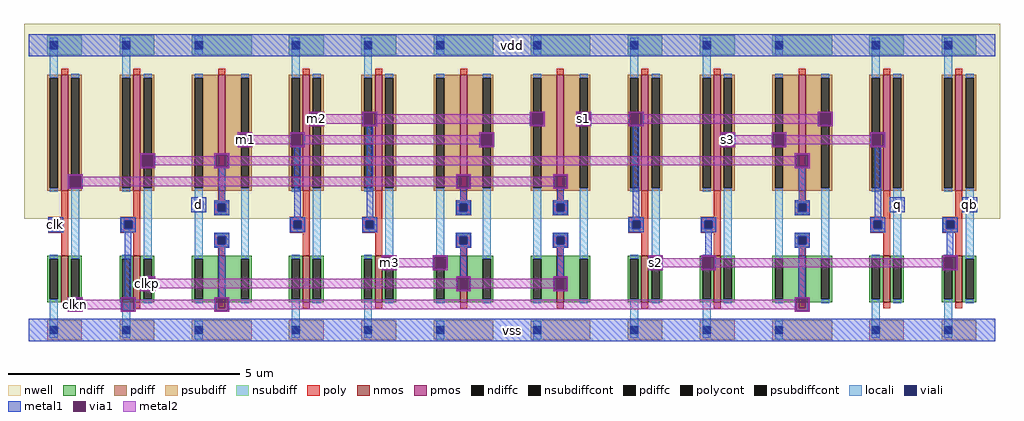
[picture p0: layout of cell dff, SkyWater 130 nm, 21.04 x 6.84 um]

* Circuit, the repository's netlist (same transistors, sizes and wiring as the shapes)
* NGSPICE file created from dff.ext - technology: sky130A

.subckt tgate x y en en_b vdd vss
X0 y en x vss sky130_fd_pr__nfet_01v8 ad=0.57 pd=3.14 as=0.57 ps=3.14 w=1 l=0.15
X1 y en_b x vdd sky130_fd_pr__pfet_01v8 ad=1.425 pd=6.14 as=1.425 ps=6.14 w=2.5 l=0.15
.ends

.subckt inv in out vdd vss
X0 out in vdd vdd sky130_fd_pr__pfet_01v8 ad=0.75 pd=5.6 as=0.75 ps=5.6 w=2.5 l=0.15
X1 out in vss vss sky130_fd_pr__nfet_01v8 ad=0.3 pd=2.6 as=0.3 ps=2.6 w=1 l=0.15
.ends

.subckt dff clk d q qb vdd vss
XXtg1 d m1 clkn clkp vdd vss tgate
XXtg2 m3 m1 clkp clkn vdd vss tgate
XXtg4 s3 s1 clkn clkp vdd vss tgate
XXtg3 m2 s1 clkp clkn vdd vss tgate
XXo1 s3 q vdd vss inv
XXo2 s2 qb vdd vss inv
XXi1 m1 m2 vdd vss inv
XXi2 m2 m3 vdd vss inv
XXi3 s1 s2 vdd vss inv
XXi4 s2 s3 vdd vss inv
XXc1 clk clkn vdd vss inv
XXc2 clkn clkp vdd vss inv
.ends

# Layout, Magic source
magic
tech sky130A
magscale 1 2
<< viali >>
rect 1226 893 1260 927
rect 2176 893 2210 927
rect 2376 893 2410 927
rect 3418 893 3452 927
rect 916 803 950 837
rect 1958 803 1992 837
rect 2998 803 3032 837
rect 3218 803 3252 837
rect 496 713 530 747
rect 184 623 218 657
rect 716 523 750 557
rect 816 510 850 544
rect 1858 510 1892 544
rect 2276 510 2310 544
rect 3318 510 3352 544
rect 3728 523 3762 557
rect 4040 523 4074 557
rect 100 437 134 471
rect 412 437 446 471
rect 1142 437 1176 471
rect 1454 437 1488 471
rect 2602 437 2636 471
rect 2914 437 2948 471
rect 3644 437 3678 471
rect 3956 437 3990 471
rect 816 370 850 404
rect 1858 370 1892 404
rect 2276 370 2310 404
rect 3318 370 3352 404
rect 1538 273 1572 307
rect 1758 273 1792 307
rect 2686 273 2720 307
rect 496 183 530 217
rect 184 93 218 127
<< metal1 >>
rect 0 1180 4168 1276
rect 1211 936 1275 942
rect 1211 884 1217 936
rect 1269 884 1275 936
rect 1211 878 1275 884
rect 1439 936 1503 942
rect 1439 884 1445 936
rect 1497 884 1503 936
rect 1439 878 1503 884
rect 2161 936 2225 942
rect 2161 884 2167 936
rect 2219 884 2225 936
rect 2161 878 2225 884
rect 2361 936 2425 942
rect 2361 884 2367 936
rect 2419 884 2425 936
rect 2361 878 2425 884
rect 2587 936 2651 942
rect 2587 884 2593 936
rect 2645 884 2651 936
rect 2587 878 2651 884
rect 3403 936 3467 942
rect 3403 884 3409 936
rect 3461 884 3467 936
rect 3403 878 3467 884
rect 901 846 965 852
rect 901 794 907 846
rect 959 794 965 846
rect 901 788 965 794
rect 1127 846 1191 852
rect 1127 794 1133 846
rect 1185 794 1191 846
rect 1127 788 1191 794
rect 481 756 545 762
rect 481 704 487 756
rect 539 704 545 756
rect 481 698 545 704
rect 801 756 865 762
rect 801 704 807 756
rect 859 704 865 756
rect 801 698 865 704
rect 169 666 233 672
rect 169 614 175 666
rect 227 614 233 666
rect 169 608 233 614
rect 701 557 765 572
rect 819 559 847 698
rect 701 523 716 557
rect 750 523 765 557
rect 701 508 765 523
rect 801 544 865 559
rect 801 510 816 544
rect 850 510 865 544
rect 801 495 865 510
rect 1145 486 1173 788
rect 1457 486 1485 878
rect 1943 846 2007 852
rect 1943 794 1949 846
rect 2001 794 2007 846
rect 1943 788 2007 794
rect 1843 666 1907 672
rect 1843 614 1849 666
rect 1901 614 1907 666
rect 1843 608 1907 614
rect 2261 666 2325 672
rect 2261 614 2267 666
rect 2319 614 2325 666
rect 2261 608 2325 614
rect 1861 559 1889 608
rect 2279 559 2307 608
rect 1843 544 1907 559
rect 1843 510 1858 544
rect 1892 510 1907 544
rect 1843 495 1907 510
rect 2261 544 2325 559
rect 2261 510 2276 544
rect 2310 510 2325 544
rect 2261 495 2325 510
rect 2605 486 2633 878
rect 2983 846 3047 852
rect 2983 794 2989 846
rect 3041 794 3047 846
rect 2983 788 3047 794
rect 3203 846 3267 852
rect 3203 794 3209 846
rect 3261 794 3267 846
rect 3203 788 3267 794
rect 3629 846 3693 852
rect 3629 794 3635 846
rect 3687 794 3693 846
rect 3629 788 3693 794
rect 3303 756 3367 762
rect 3303 704 3309 756
rect 3361 704 3367 756
rect 3303 698 3367 704
rect 3321 559 3349 698
rect 3303 544 3367 559
rect 3303 510 3318 544
rect 3352 510 3367 544
rect 3303 495 3367 510
rect 3647 486 3675 788
rect 3713 557 3777 572
rect 3713 523 3728 557
rect 3762 523 3777 557
rect 3713 508 3777 523
rect 4025 557 4089 572
rect 4025 523 4040 557
rect 4074 523 4089 557
rect 4025 508 4089 523
rect 85 471 149 486
rect 85 437 100 471
rect 134 437 149 471
rect 85 422 149 437
rect 397 471 461 486
rect 397 437 412 471
rect 446 437 461 471
rect 397 422 461 437
rect 1127 471 1191 486
rect 1127 437 1142 471
rect 1176 437 1191 471
rect 1127 422 1191 437
rect 1439 471 1503 486
rect 1439 437 1454 471
rect 1488 437 1503 471
rect 1439 422 1503 437
rect 2587 471 2651 486
rect 2587 437 2602 471
rect 2636 437 2651 471
rect 2587 422 2651 437
rect 2899 471 2963 486
rect 2899 437 2914 471
rect 2948 437 2963 471
rect 2899 422 2963 437
rect 3629 471 3693 486
rect 3629 437 3644 471
rect 3678 437 3693 471
rect 3629 422 3693 437
rect 3941 471 4005 486
rect 3941 437 3956 471
rect 3990 437 4005 471
rect 3941 422 4005 437
rect 415 142 443 422
rect 801 404 865 419
rect 801 370 816 404
rect 850 370 865 404
rect 801 355 865 370
rect 1843 404 1907 419
rect 1843 370 1858 404
rect 1892 370 1907 404
rect 1843 355 1907 370
rect 2261 404 2325 419
rect 2261 370 2276 404
rect 2310 370 2325 404
rect 2261 355 2325 370
rect 481 226 545 232
rect 481 174 487 226
rect 539 174 545 226
rect 481 168 545 174
rect 819 142 847 355
rect 1523 316 1587 322
rect 1523 264 1529 316
rect 1581 264 1587 316
rect 1523 258 1587 264
rect 1743 316 1807 322
rect 1743 264 1749 316
rect 1801 264 1807 316
rect 1743 258 1807 264
rect 1861 232 1889 355
rect 2279 232 2307 355
rect 2917 322 2945 422
rect 3303 404 3367 419
rect 3303 370 3318 404
rect 3352 370 3367 404
rect 3303 355 3367 370
rect 2671 316 2735 322
rect 2671 264 2677 316
rect 2729 264 2735 316
rect 2671 258 2735 264
rect 2899 316 2963 322
rect 2899 264 2905 316
rect 2957 264 2963 316
rect 2899 258 2963 264
rect 1843 226 1907 232
rect 1843 174 1849 226
rect 1901 174 1907 226
rect 1843 168 1907 174
rect 2261 226 2325 232
rect 2261 174 2267 226
rect 2319 174 2325 226
rect 2261 168 2325 174
rect 3321 142 3349 355
rect 3959 322 3987 422
rect 3941 316 4005 322
rect 3941 264 3947 316
rect 3999 264 4005 316
rect 3941 258 4005 264
rect 169 136 233 142
rect 169 84 175 136
rect 227 84 233 136
rect 169 78 233 84
rect 397 136 461 142
rect 397 84 403 136
rect 455 84 461 136
rect 397 78 461 84
rect 801 136 865 142
rect 801 84 807 136
rect 859 84 865 136
rect 801 78 865 84
rect 3303 136 3367 142
rect 3303 84 3309 136
rect 3361 84 3367 136
rect 3303 78 3367 84
rect 0 -48 4168 48
<< via1 >>
rect 1217 927 1269 936
rect 1217 893 1226 927
rect 1226 893 1260 927
rect 1260 893 1269 927
rect 1217 884 1269 893
rect 1445 884 1497 936
rect 2167 927 2219 936
rect 2167 893 2176 927
rect 2176 893 2210 927
rect 2210 893 2219 927
rect 2167 884 2219 893
rect 2367 927 2419 936
rect 2367 893 2376 927
rect 2376 893 2410 927
rect 2410 893 2419 927
rect 2367 884 2419 893
rect 2593 884 2645 936
rect 3409 927 3461 936
rect 3409 893 3418 927
rect 3418 893 3452 927
rect 3452 893 3461 927
rect 3409 884 3461 893
rect 907 837 959 846
rect 907 803 916 837
rect 916 803 950 837
rect 950 803 959 837
rect 907 794 959 803
rect 1133 794 1185 846
rect 487 747 539 756
rect 487 713 496 747
rect 496 713 530 747
rect 530 713 539 747
rect 487 704 539 713
rect 807 704 859 756
rect 175 657 227 666
rect 175 623 184 657
rect 184 623 218 657
rect 218 623 227 657
rect 175 614 227 623
rect 1949 837 2001 846
rect 1949 803 1958 837
rect 1958 803 1992 837
rect 1992 803 2001 837
rect 1949 794 2001 803
rect 1849 614 1901 666
rect 2267 614 2319 666
rect 2989 837 3041 846
rect 2989 803 2998 837
rect 2998 803 3032 837
rect 3032 803 3041 837
rect 2989 794 3041 803
rect 3209 837 3261 846
rect 3209 803 3218 837
rect 3218 803 3252 837
rect 3252 803 3261 837
rect 3209 794 3261 803
rect 3635 794 3687 846
rect 3309 704 3361 756
rect 487 217 539 226
rect 487 183 496 217
rect 496 183 530 217
rect 530 183 539 217
rect 487 174 539 183
rect 1529 307 1581 316
rect 1529 273 1538 307
rect 1538 273 1572 307
rect 1572 273 1581 307
rect 1529 264 1581 273
rect 1749 307 1801 316
rect 1749 273 1758 307
rect 1758 273 1792 307
rect 1792 273 1801 307
rect 1749 264 1801 273
rect 2677 307 2729 316
rect 2677 273 2686 307
rect 2686 273 2720 307
rect 2720 273 2729 307
rect 2677 264 2729 273
rect 2905 264 2957 316
rect 1849 174 1901 226
rect 2267 174 2319 226
rect 3947 264 3999 316
rect 175 127 227 136
rect 175 93 184 127
rect 184 93 218 127
rect 218 93 227 127
rect 175 84 227 93
rect 403 84 455 136
rect 807 84 859 136
rect 3309 84 3361 136
<< metal2 >>
rect 1211 936 1275 942
rect 1211 884 1217 936
rect 1269 930 1275 936
rect 1439 936 1503 942
rect 1439 930 1445 936
rect 1269 890 1445 930
rect 1269 884 1275 890
rect 1211 878 1275 884
rect 1439 884 1445 890
rect 1497 930 1503 936
rect 2161 936 2225 942
rect 2161 930 2167 936
rect 1497 890 2167 930
rect 1497 884 1503 890
rect 1439 878 1503 884
rect 2161 884 2167 890
rect 2219 884 2225 936
rect 2161 878 2225 884
rect 2361 936 2425 942
rect 2361 884 2367 936
rect 2419 930 2425 936
rect 2587 936 2651 942
rect 2587 930 2593 936
rect 2419 890 2593 930
rect 2419 884 2425 890
rect 2361 878 2425 884
rect 2587 884 2593 890
rect 2645 930 2651 936
rect 3403 936 3467 942
rect 3403 930 3409 936
rect 2645 890 3409 930
rect 2645 884 2651 890
rect 2587 878 2651 884
rect 3403 884 3409 890
rect 3461 884 3467 936
rect 3403 878 3467 884
rect 901 846 965 852
rect 901 794 907 846
rect 959 840 965 846
rect 1127 846 1191 852
rect 1127 840 1133 846
rect 959 800 1133 840
rect 959 794 965 800
rect 901 788 965 794
rect 1127 794 1133 800
rect 1185 840 1191 846
rect 1943 846 2007 852
rect 1943 840 1949 846
rect 1185 800 1949 840
rect 1185 794 1191 800
rect 1127 788 1191 794
rect 1943 794 1949 800
rect 2001 794 2007 846
rect 1943 788 2007 794
rect 2983 846 3047 852
rect 2983 794 2989 846
rect 3041 840 3047 846
rect 3203 846 3267 852
rect 3203 840 3209 846
rect 3041 800 3209 840
rect 3041 794 3047 800
rect 2983 788 3047 794
rect 3203 794 3209 800
rect 3261 840 3267 846
rect 3629 846 3693 852
rect 3629 840 3635 846
rect 3261 800 3635 840
rect 3261 794 3267 800
rect 3203 788 3267 794
rect 3629 794 3635 800
rect 3687 794 3693 846
rect 3629 788 3693 794
rect 481 756 545 762
rect 481 704 487 756
rect 539 750 545 756
rect 801 756 865 762
rect 801 750 807 756
rect 539 710 807 750
rect 539 704 545 710
rect 481 698 545 704
rect 801 704 807 710
rect 859 750 865 756
rect 3303 756 3367 762
rect 3303 750 3309 756
rect 859 710 3309 750
rect 859 704 865 710
rect 801 698 865 704
rect 3303 704 3309 710
rect 3361 704 3367 756
rect 3303 698 3367 704
rect 169 666 233 672
rect 169 614 175 666
rect 227 660 233 666
rect 1843 666 1907 672
rect 1843 660 1849 666
rect 227 620 1849 660
rect 227 614 233 620
rect 169 608 233 614
rect 1843 614 1849 620
rect 1901 660 1907 666
rect 2261 666 2325 672
rect 2261 660 2267 666
rect 1901 620 2267 660
rect 1901 614 1907 620
rect 1843 608 1907 614
rect 2261 614 2267 620
rect 2319 614 2325 666
rect 2261 608 2325 614
rect 1523 316 1587 322
rect 1523 264 1529 316
rect 1581 310 1587 316
rect 1743 316 1807 322
rect 1743 310 1749 316
rect 1581 270 1749 310
rect 1581 264 1587 270
rect 1523 258 1587 264
rect 1743 264 1749 270
rect 1801 264 1807 316
rect 1743 258 1807 264
rect 2671 316 2735 322
rect 2671 264 2677 316
rect 2729 310 2735 316
rect 2899 316 2963 322
rect 2899 310 2905 316
rect 2729 270 2905 310
rect 2729 264 2735 270
rect 2671 258 2735 264
rect 2899 264 2905 270
rect 2957 310 2963 316
rect 3941 316 4005 322
rect 3941 310 3947 316
rect 2957 270 3947 310
rect 2957 264 2963 270
rect 2899 258 2963 264
rect 3941 264 3947 270
rect 3999 264 4005 316
rect 3941 258 4005 264
rect 481 226 545 232
rect 481 174 487 226
rect 539 220 545 226
rect 1843 226 1907 232
rect 1843 220 1849 226
rect 539 180 1849 220
rect 539 174 545 180
rect 481 168 545 174
rect 1843 174 1849 180
rect 1901 220 1907 226
rect 2261 226 2325 232
rect 2261 220 2267 226
rect 1901 180 2267 220
rect 1901 174 1907 180
rect 1843 168 1907 174
rect 2261 174 2267 180
rect 2319 174 2325 226
rect 2261 168 2325 174
rect 169 136 233 142
rect 169 84 175 136
rect 227 130 233 136
rect 397 136 461 142
rect 397 130 403 136
rect 227 90 403 130
rect 227 84 233 90
rect 169 78 233 84
rect 397 84 403 90
rect 455 130 461 136
rect 801 136 865 142
rect 801 130 807 136
rect 455 90 807 130
rect 455 84 461 90
rect 397 78 461 84
rect 801 84 807 90
rect 859 130 865 136
rect 3303 136 3367 142
rect 3303 130 3309 136
rect 859 90 3309 130
rect 859 84 865 90
rect 801 78 865 84
rect 3303 84 3309 90
rect 3361 84 3367 136
rect 3303 78 3367 84
use inv  Xc1
transform 1 0 0 0 1 0
box -20 -48 332 1320
use inv  Xc2
transform 1 0 312 0 1 0
box -20 -48 332 1320
use inv  Xi1
transform 1 0 1042 0 1 0
box -20 -48 332 1320
use inv  Xi2
transform 1 0 1354 0 1 0
box -20 -48 332 1320
use inv  Xi3
transform 1 0 2502 0 1 0
box -20 -48 332 1320
use inv  Xi4
transform 1 0 2814 0 1 0
box -20 -48 332 1320
use inv  Xo1
transform 1 0 3544 0 1 0
box -20 -48 332 1320
use inv  Xo2
transform 1 0 3856 0 1 0
box -20 -48 332 1320
use tgate  Xtg1
transform 1 0 624 0 1 0
box -20 -48 438 1320
use tgate  Xtg2
transform 1 0 1666 0 1 0
box -20 -48 438 1320
use tgate  Xtg3
transform 1 0 2084 0 1 0
box -20 -48 438 1320
use tgate  Xtg4
transform 1 0 3126 0 1 0
box -20 -48 438 1320
<< labels >>
rlabel via1 201 110 201 110 0 clkn
rlabel via1 513 200 513 200 0 clkp
rlabel via1 933 820 933 820 0 m1
rlabel via1 1243 910 1243 910 0 m2
rlabel via1 1555 290 1555 290 0 m3
rlabel via1 2393 910 2393 910 0 s1
rlabel via1 2703 290 2703 290 0 s2
rlabel via1 3015 820 3015 820 0 s3
rlabel metal1 85 422 149 486 0 clk
port 11 nsew signal input
rlabel metal1 701 508 765 572 0 d
port 12 nsew signal input
rlabel metal1 3713 508 3777 572 0 q
port 13 nsew signal output
rlabel metal1 4025 508 4089 572 0 qb
port 14 nsew signal output
rlabel metal1 0 1180 4168 1276 0 vdd
port 15 nsew signal bidirectional
rlabel metal1 0 -48 4168 48 0 vss
port 16 nsew signal bidirectional
<< end >>

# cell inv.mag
magic
tech sky130A
magscale 1 2
<< nwell >>
rect -20 480 332 1320
<< nmos >>
rect 140 120 170 320
<< pmos >>
rect 140 600 170 1100
<< ndiff >>
rect 80 308 140 320
rect 80 132 92 308
rect 126 132 140 308
rect 80 120 140 132
rect 170 308 230 320
rect 170 132 184 308
rect 218 132 230 308
rect 170 120 230 132
<< pdiff >>
rect 80 1088 140 1100
rect 80 612 92 1088
rect 126 612 140 1088
rect 80 600 140 612
rect 170 1088 230 1100
rect 170 612 184 1088
rect 218 612 230 1088
rect 170 600 230 612
<< ndiffc >>
rect 92 132 126 308
rect 184 132 218 308
<< pdiffc >>
rect 92 612 126 1088
rect 184 612 218 1088
<< psubdiff >>
rect 80 17 230 42
rect 80 -17 92 17
rect 126 -17 230 17
rect 80 -42 230 -17
<< nsubdiff >>
rect 80 1245 230 1270
rect 80 1211 92 1245
rect 126 1211 230 1245
rect 80 1186 230 1211
<< psubdiffcont >>
rect 92 -17 126 17
<< nsubdiffcont >>
rect 92 1211 126 1245
<< poly >>
rect 140 1100 170 1126
rect 140 488 170 600
rect 84 471 170 488
rect 84 437 100 471
rect 134 437 170 471
rect 84 420 170 437
rect 140 320 170 420
rect 140 94 170 120
<< polycont >>
rect 100 437 134 471
<< locali >>
rect 92 1245 126 1261
rect 92 1088 126 1211
rect 92 596 126 612
rect 184 1088 218 1104
rect 84 471 150 487
rect 84 437 100 471
rect 134 437 150 471
rect 84 421 150 437
rect 92 308 126 324
rect 92 17 126 132
rect 184 308 218 612
rect 184 116 218 132
rect 92 -33 126 -17
<< viali >>
rect 92 1211 126 1245
rect 92 -17 126 17
<< metal1 >>
rect 0 1245 312 1276
rect 0 1211 92 1245
rect 126 1211 312 1245
rect 0 1180 312 1211
rect 0 17 312 48
rect 0 -17 92 17
rect 126 -17 312 17
rect 0 -48 312 -17
<< labels >>
rlabel locali 84 421 150 487 0 in
port 1 nsew signal input
rlabel locali 184 520 218 580 0 out
port 2 nsew signal output
rlabel metal1 0 1180 312 1276 0 vdd
port 3 nsew signal bidirectional
rlabel metal1 0 -48 312 48 0 vss
port 4 nsew signal bidirectional
<< end >>

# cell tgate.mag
magic
tech sky130A
magscale 1 2
<< nwell >>
rect -20 480 438 1320
<< nmos >>
rect 194 120 224 320
<< pmos >>
rect 194 600 224 1100
<< ndiff >>
rect 80 308 194 320
rect 80 132 92 308
rect 126 132 194 308
rect 80 120 194 132
rect 224 308 338 320
rect 224 132 292 308
rect 326 132 338 308
rect 224 120 338 132
<< pdiff >>
rect 80 1088 194 1100
rect 80 612 92 1088
rect 126 612 194 1088
rect 80 600 194 612
rect 224 1088 338 1100
rect 224 612 292 1088
rect 326 612 338 1088
rect 224 600 338 612
<< ndiffc >>
rect 92 132 126 308
rect 292 132 326 308
<< pdiffc >>
rect 92 612 126 1088
rect 292 612 326 1088
<< psubdiff >>
rect 80 17 338 42
rect 80 -17 92 17
rect 126 -17 338 17
rect 80 -42 338 -17
<< nsubdiff >>
rect 80 1245 338 1270
rect 80 1211 92 1245
rect 126 1211 338 1245
rect 80 1186 338 1211
<< psubdiffcont >>
rect 92 -17 126 17
<< nsubdiffcont >>
rect 92 1211 126 1245
<< poly >>
rect 194 1100 224 1126
rect 194 560 224 600
rect 176 544 242 560
rect 176 510 192 544
rect 226 510 242 544
rect 176 494 242 510
rect 176 404 242 420
rect 176 370 192 404
rect 226 370 242 404
rect 176 354 242 370
rect 194 320 224 354
rect 194 94 224 120
<< polycont >>
rect 192 510 226 544
rect 192 370 226 404
<< locali >>
rect 92 1245 126 1268
rect 92 1188 126 1211
rect 92 1088 126 1104
rect 92 308 126 612
rect 292 1088 326 1104
rect 176 544 242 554
rect 176 510 192 544
rect 226 510 242 544
rect 176 500 242 510
rect 176 404 242 414
rect 176 370 192 404
rect 226 370 242 404
rect 176 360 242 370
rect 92 116 126 132
rect 292 308 326 612
rect 292 116 326 132
rect 92 17 126 40
rect 92 -40 126 -17
<< viali >>
rect 92 1211 126 1245
rect 92 -17 126 17
<< metal1 >>
rect 0 1245 418 1276
rect 0 1211 92 1245
rect 126 1211 418 1245
rect 0 1180 418 1211
rect 0 17 418 48
rect 0 -17 92 17
rect 126 -17 418 17
rect 0 -48 418 -17
<< labels >>
rlabel locali 92 520 126 580 0 x
port 5 nsew signal bidirectional
rlabel locali 292 520 326 580 0 y
port 6 nsew signal bidirectional
rlabel locali 176 360 242 414 0 en
port 7 nsew signal input
rlabel locali 176 500 242 554 0 en_b
port 8 nsew signal input
rlabel metal1 0 1180 418 1276 0 vdd
port 9 nsew signal bidirectional
rlabel metal1 0 -48 418 48 0 vss
port 10 nsew signal bidirectional
<< end >>
